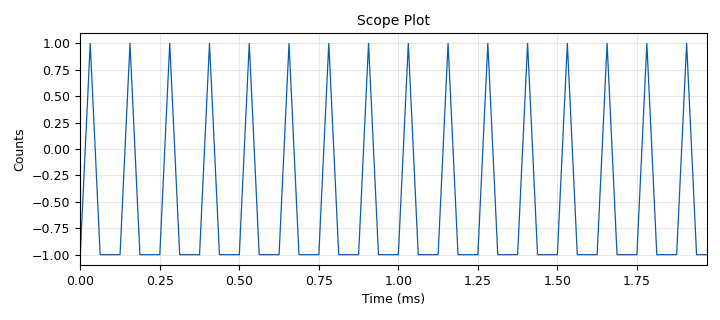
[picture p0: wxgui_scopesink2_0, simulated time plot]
<?xml version='1.0' encoding='utf-8'?>
<?grc format='1' created='3.7.10'?>
<flow_graph>
<block>
<key>options</key>
<param><key>id</key><value>top_block</value></param>
<param><key>category</key><value>Custom</value></param>
<param><key>generate_options</key><value>wx_gui</value></param>
</block>
<block>
<key>variable</key>
<param><key>id</key><value>samp_rate</value></param>
<param><key>value</key><value>32e3</value></param>
</block>
<block>
<key>analog_const_source_x</key>
<param><key>id</key><value>analog_const_source_x_0</value></param>
<param><key>const</key><value>0</value></param>
<param><key>type</key><value>float</value></param>
</block>
<block>
<key>blocks_add_xx</key>
<param><key>id</key><value>blocks_add_xx_0</value></param>
<param><key>type</key><value>float</value></param>
</block>
<block>
<key>blocks_char_to_float</key>
<param><key>id</key><value>blocks_char_to_float_0</value></param>
<param><key>scale</key><value>1</value></param>
</block>
<block>
<key>blocks_ctrlport_monitor_performance</key>
<param><key>id</key><value>blocks_ctrlport_monitor_performance_0</value></param>
<param><key>en</key><value>True</value></param>
</block>
<block>
<key>blocks_float_to_char</key>
<param><key>id</key><value>blocks_float_to_char_0</value></param>
<param><key>scale</key><value>1</value></param>
</block>
<block>
<key>blocks_int_to_float</key>
<param><key>id</key><value>blocks_int_to_float_0</value></param>
<param><key>scale</key><value>1</value></param>
</block>
<block>
<key>blocks_throttle</key>
<param><key>id</key><value>blocks_throttle_0</value></param>
<param><key>samples_per_second</key><value>samp_rate</value></param>
<param><key>type</key><value>int</value></param>
</block>
<block>
<key>blocks_vector_source_x</key>
<param><key>id</key><value>blocks_vector_source_x_0</value></param>
<param><key>type</key><value>int</value></param>
<param><key>repeat</key><value>True</value></param>
<param><key>vector</key><value>(1, 1, 1, 0)</value></param>
</block>
<block>
<key>digital_map_bb</key>
<param><key>id</key><value>digital_map_bb_0</value></param>
<param><key>map</key><value>[1, -1]</value></param>
</block>
<block>
<key>wxgui_scopesink2</key>
<param><key>id</key><value>wxgui_scopesink2_0</value></param>
<param><key>ac_couple</key><value>False</value></param>
<param><key>num_inputs</key><value>1</value></param>
<param><key>samp_rate</key><value>samp_rate</value></param>
<param><key>t_scale</key><value>0</value></param>
<param><key>title</key><value>Scope Plot</value></param>
<param><key>trig_mode</key><value>wxgui.TRIG_MODE_AUTO</value></param>
<param><key>type</key><value>float</value></param>
<param><key>v_offset</key><value>0</value></param>
<param><key>v_scale</key><value>0</value></param>
<param><key>xy_mode</key><value>False</value></param>
<param><key>y_axis_label</key><value>Counts</value></param>
</block>
<connection><source_block_id>analog_const_source_x_0</source_block_id><sink_block_id>blocks_add_xx_0</sink_block_id><source_key>0</source_key><sink_key>1</sink_key></connection>
<connection><source_block_id>blocks_add_xx_0</source_block_id><sink_block_id>blocks_float_to_char_0</sink_block_id><source_key>0</source_key><sink_key>0</sink_key></connection>
<connection><source_block_id>blocks_char_to_float_0</source_block_id><sink_block_id>wxgui_scopesink2_0</sink_block_id><source_key>0</source_key><sink_key>0</sink_key></connection>
<connection><source_block_id>blocks_float_to_char_0</source_block_id><sink_block_id>digital_map_bb_0</sink_block_id><source_key>0</source_key><sink_key>0</sink_key></connection>
<connection><source_block_id>blocks_int_to_float_0</source_block_id><sink_block_id>blocks_add_xx_0</sink_block_id><source_key>0</source_key><sink_key>0</sink_key></connection>
<connection><source_block_id>blocks_throttle_0</source_block_id><sink_block_id>blocks_int_to_float_0</sink_block_id><source_key>0</source_key><sink_key>0</sink_key></connection>
<connection><source_block_id>blocks_vector_source_x_0</source_block_id><sink_block_id>blocks_throttle_0</sink_block_id><source_key>0</source_key><sink_key>0</sink_key></connection>
<connection><source_block_id>digital_map_bb_0</source_block_id><sink_block_id>blocks_char_to_float_0</sink_block_id><source_key>0</source_key><sink_key>0</sink_key></connection>
</flow_graph>
